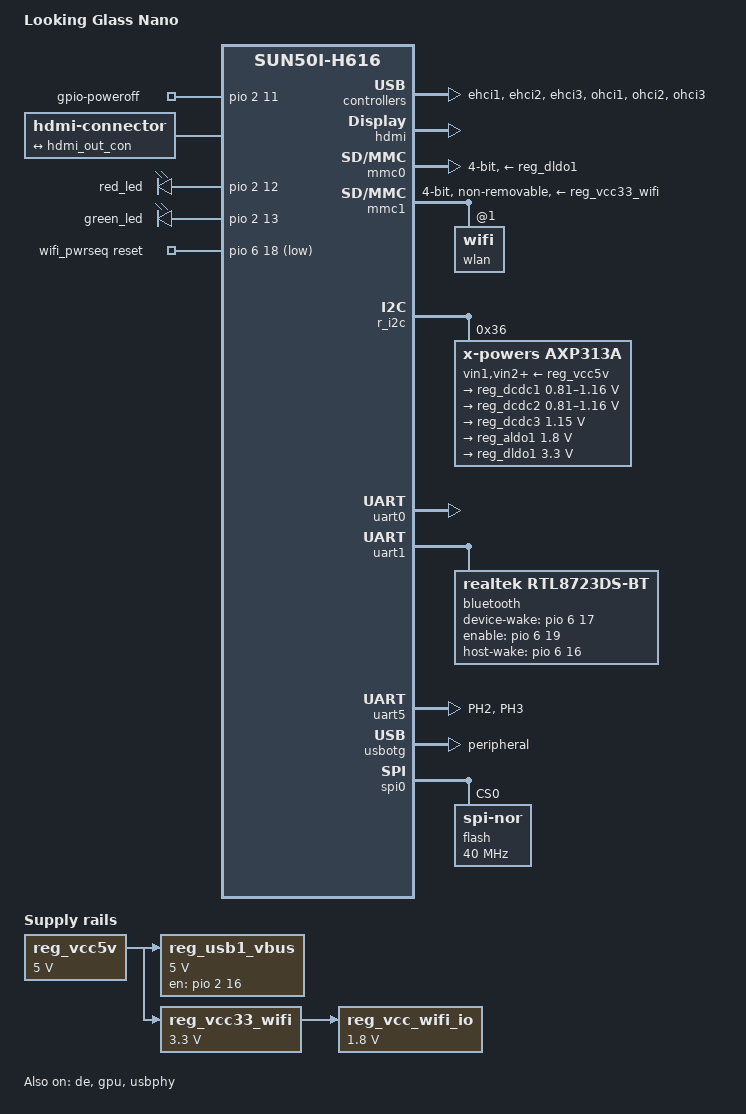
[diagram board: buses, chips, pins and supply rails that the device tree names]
// SPDX-License-Identifier: (GPL-2.0+ or MIT)
/*
 * Author: piotr.oniszczuk@gmail.com
 *
 * Looking Glass Go ("nano") - Allwinner H618 (sun50i-h616) standalone
 * light-field display board. Drives a fixed 1440x2560 portrait panel
 * (LCD_0598AUOQHM01) over the SoC internal HDMI 2.0.
 *
 * Ported from the LKG vendor 6.6.17 patch
 * 0655-add-device-h618-lookingglass-nano onto linux-6.18.y-lc.
 */

/dts-v1/;

#include "sun50i-h616.dtsi"
#include <dt-bindings/gpio/gpio.h>
#include <dt-bindings/interrupt-controller/arm-gic.h>
#include <dt-bindings/leds/common.h>

/ {
	model = "Looking Glass Nano";
	compatible = "lookingglass,nano", "allwinner,sun50i-h616";

	aliases {
		mmc0 = &mmc0;  /* mmc0/mmcblk0 for SD */
		mmc1 = &mmc1;  /* mmc1/mmcblk1 for SDIO */
		ethernet0 = &wlan;
		serial0 = &uart0;
		serial5 = &uart5;
	};

	chosen {
		stdout-path = "serial0:115200n8";
	};

	gpio-poweroff {
		compatible = "gpio-poweroff";
		gpios = <&pio 2 11 GPIO_ACTIVE_HIGH>; /* PC11 */
		timeout-ms = <3000>;
	};

	connector {
		compatible = "hdmi-connector";
		type = "d";

		port {
			hdmi_con_in: endpoint {
				remote-endpoint = <&hdmi_out_con>;
			};
		};
	};

	leds: leds {
		compatible = "gpio-leds";

		led-red {
			function = LED_FUNCTION_DISK_ACTIVITY;
			label = "red_led";
			gpios = <&pio 2 12 GPIO_ACTIVE_HIGH>; /* PC12 */
			linux,default-trigger = "mmc0";
		};

		led-green {
			function = LED_FUNCTION_STATUS;
			label = "green_led";
			gpios = <&pio 2 13 GPIO_ACTIVE_HIGH>; /* PC13 */
			linux,default-trigger = "heartbeat";
		};
	};

	reg_vcc5v: vcc5v {
		/* board wide 5V supply directly from the USB-C socket */
		compatible = "regulator-fixed";
		regulator-name = "vcc-5v";
		regulator-min-microvolt = <5000000>;
		regulator-max-microvolt = <5000000>;
		regulator-always-on;
	};

	reg_usb1_vbus: usb1-vbus {
		compatible = "regulator-fixed";
		regulator-name = "usb1-vbus";
		regulator-min-microvolt = <5000000>;
		regulator-max-microvolt = <5000000>;
		vin-supply = <&reg_vcc5v>;
		enable-active-high;
		gpio = <&pio 2 16 GPIO_ACTIVE_HIGH>; /* PC16 */
		status = "okay";
	};

	reg_vcc33_wifi: vcc33-wifi {
		/* Always on 3.3V regulator for WiFi and BT */
		compatible = "regulator-fixed";
		regulator-name = "vcc33-wifi";
		regulator-min-microvolt = <3300000>;
		regulator-max-microvolt = <3300000>;
		regulator-always-on;
		vin-supply = <&reg_vcc5v>;
	};

	reg_vcc_wifi_io: vcc-wifi-io {
		/* Always on 1.8V/300mA regulator for WiFi and BT IO */
		compatible = "regulator-fixed";
		regulator-name = "vcc-wifi-io";
		regulator-min-microvolt = <1800000>;
		regulator-max-microvolt = <1800000>;
		regulator-always-on;
		vin-supply = <&reg_vcc33_wifi>;
	};

	wifi_pwrseq: wifi-pwrseq {
		compatible = "mmc-pwrseq-simple";
		reset-gpios = <&pio 6 18 GPIO_ACTIVE_LOW>; /* PG18 */
	};
};

&cpu0 {
	cpu-supply = <&reg_dcdc2>;
	status = "okay";
};

&de {
	status = "okay";
};

&ehci1 {
	status = "okay";
};

&ehci2 {
	status = "okay";
};

&ehci3 {
	status = "okay";
};

&hdmi {
	hvcc-supply = <&reg_aldo1>;
	status = "okay";
};

&hdmi_out {
	hdmi_out_con: endpoint {
		remote-endpoint = <&hdmi_con_in>;
	};
};

&gpu {
	mali-supply = <&reg_dcdc1>;
	status = "okay";
};

&mmc0 {
	vmmc-supply = <&reg_dldo1>;
	broken-cd;
	bus-width = <4>;
	status = "okay";
};

&mmc1 {
	vmmc-supply = <&reg_vcc33_wifi>;
	vqmmc-supply = <&reg_vcc_wifi_io>;
	mmc-pwrseq = <&wifi_pwrseq>;
	bus-width = <4>;
	non-removable;
	mmc-ddr-1_8v;
	status = "okay";

	wlan: wifi@1 {
		reg = <1>;
	};
};

&ohci1 {
	status = "okay";
};

&ohci2 {
	status = "okay";
};

&ohci3 {
	status = "okay";
};

&pio {
	uart5_ph_pins: uart5-ph-pins {
		pins = "PH2", "PH3";
		function = "uart5";
	};
};

&r_i2c {
	status = "okay";

	axp313a: pmic@36 {
		compatible = "x-powers,axp313a";
		reg = <0x36>;
		wakeup-source;
		vin1-supply = <&reg_vcc5v>;
		vin2-supply = <&reg_vcc5v>;
		vin3-supply = <&reg_vcc5v>;

		regulators {
			reg_dcdc1: dcdc1 {
				regulator-always-on;
				regulator-min-microvolt = <810000>;
				regulator-max-microvolt = <1160000>;
				regulator-name = "vdd-gpu";
			};

			reg_dcdc2: dcdc2 {
				regulator-always-on;
				regulator-min-microvolt = <810000>;
				regulator-max-microvolt = <1160000>;
				regulator-name = "vdd-cpu";
			};

			reg_dcdc3: dcdc3 {
				regulator-always-on;
				/*
				 * vdd-ram increased from 1100mV to 1150mV
				 * as 1100mV gives unstable board operation
				 */
				regulator-min-microvolt = <1150000>;
				regulator-max-microvolt = <1150000>;
				regulator-name = "vdd-dram";
			};

			reg_aldo1: aldo1 {
				regulator-always-on;
				regulator-min-microvolt = <1800000>;
				regulator-max-microvolt = <1800000>;
				regulator-name = "vcc1v8";
			};

			reg_dldo1: dldo1 {
				regulator-always-on;
				regulator-min-microvolt = <3300000>;
				regulator-max-microvolt = <3300000>;
				regulator-name = "vcc3v3";
			};
		};
	};
};

&uart0 {
	pinctrl-names = "default";
	pinctrl-0 = <&uart0_ph_pins>;
	status = "okay";
};

&uart1 {
	pinctrl-names = "default";
	pinctrl-0 = <&uart1_pins>, <&uart1_rts_cts_pins>;
	uart-has-rtscts;
	status = "okay";

	bluetooth {
		compatible = "realtek,rtl8723ds-bt";
		device-wake-gpios = <&pio 6 17 GPIO_ACTIVE_HIGH>; /* PG17 */
		enable-gpios = <&pio 6 19 GPIO_ACTIVE_HIGH>; /* PG19 */
		host-wake-gpios = <&pio 6 16 GPIO_ACTIVE_HIGH>; /* PG16 */
	};
};

&uart5 {
	pinctrl-names = "default";
	pinctrl-0 = <&uart5_ph_pins>;
	status = "okay";
};

&usbotg {
	dr_mode = "peripheral";
	status = "okay";
};

&usbphy {
	usb1_vbus-supply = <&reg_usb1_vbus>;
	status = "okay";
};

&spi0  {
	status = "okay";
	pinctrl-names = "default";
	pinctrl-0 = <&spi0_pins>, <&spi0_cs0_pin>;

	flash@0 {
		status = "okay";
		#address-cells = <1>;
		#size-cells = <1>;
		compatible = "jedec,spi-nor";
		reg = <0>;
		spi-max-frequency = <40000000>;
	};
};
